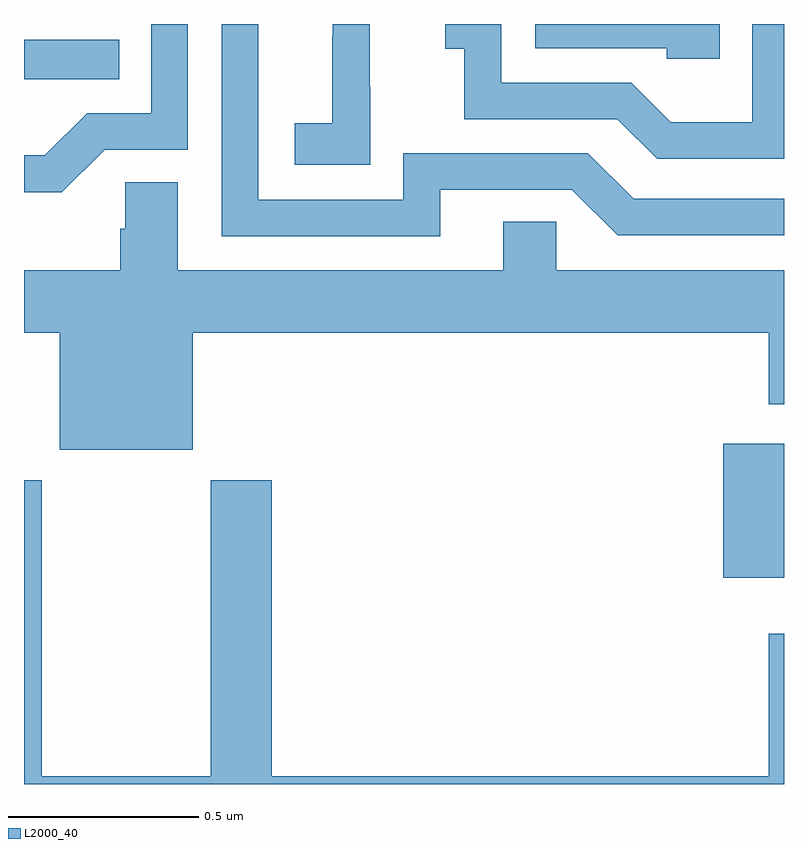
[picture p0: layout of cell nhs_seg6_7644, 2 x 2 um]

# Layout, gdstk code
import gdstk
lib = gdstk.Library(unit=1e-6, precision=1e-09)
def R(c, l, rs):  # rectangles x0, y0, x1, y1
    for r in rs: c.add(gdstk.rectangle(r[:2], r[2:], *l))
def P(c, l, *ps):  # polygons
    for p in ps: c.add(gdstk.Polygon(p, *l))
L2000_40 = (2000, 40)

nhs_seg6_7644 = lib.new_cell('nhs_seg6_7644')
R(nhs_seg6_7644, L2000_40, [(212.84,928.043,213,928.396), (211,929.354,211.25,929.458)])
P(nhs_seg6_7644, L2000_40, [(212.095,929.064),(212.442,929.064),(212.562,928.944),(213,928.944),(213,929.04),(212.604,929.04),(212.484,929.16),(211.998,929.16),(211.998,929.037),(211.617,929.037),(211.617,929.5),(211.521,929.5),(211.521,928.941),(212.095,928.941)],
  [(213,929.5),(212.916,929.5),(212.916,929.242),(212.702,929.242),(212.598,929.346),(212.256,929.346),(212.256,929.5),(212.109,929.5),(212.109,929.435),(212.158,929.435),(212.158,929.25),(212.561,929.25),(212.666,929.145),(213,929.145)],
  [(211.911,929.335),(211.91,929.335),(211.91,929.5),(211.812,929.5),(211.812,929.468),(211.811,929.468),(211.811,929.239),(211.713,929.239),(211.713,929.129),(211.911,929.129)],
  [(212.831,929.5),(212.346,929.5),(212.346,929.436),(212.691,929.436),(212.691,929.409),(212.831,929.409)],
  [(211.212,929.169),(211.431,929.169),(211.431,929.5),(211.335,929.5),(211.335,929.265),(211.166,929.265),(211.055,929.154),(211,929.154),(211,929.057),(211.099,929.057)],
  [(212.4,928.979),(212.261,928.979),(212.261,928.852),(211.405,928.852),(211.405,929.084),(211.266,929.084),(211.266,928.961),(211.253,928.961),(211.253,928.852),(211,928.852),(211,928.688),(211.094,928.688),(211.094,928.379),(211.444,928.379),(211.444,928.688),(212.96,928.688),(212.96,928.5),(213,928.5),(213,928.852),(212.4,928.852)],
  [(213,927.895),(212.96,927.895),(212.96,927.52),(211.652,927.52),(211.652,928.3),(211.492,928.3),(211.492,927.52),(211.047,927.52),(211.047,928.3),(211,928.3),(211,927.5),(213,927.5)])

lib.write_gds('nhs_seg6_7644.gds')
